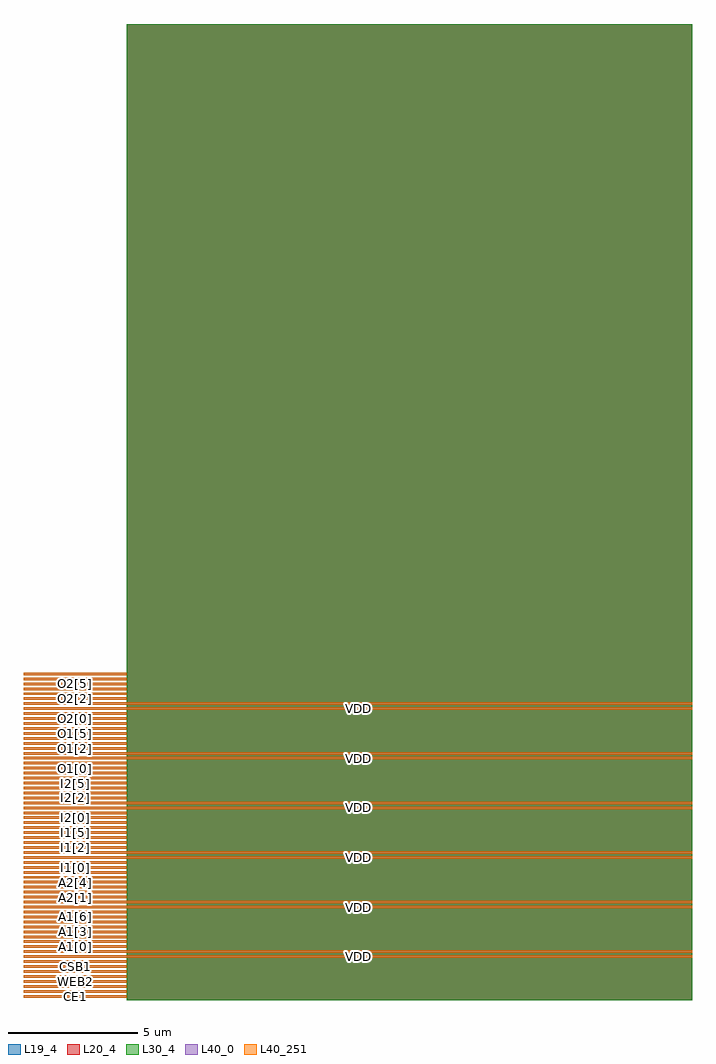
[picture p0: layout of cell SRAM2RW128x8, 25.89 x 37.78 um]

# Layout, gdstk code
import gdstk
lib = gdstk.Library(unit=1e-6, precision=1e-09)
def R(c, l, rs):  # rectangles x0, y0, x1, y1
    for r in rs: c.add(gdstk.rectangle(r[:2], r[2:], *l))
def A(c, l, x, y, w, h, nx, ny, dx, dy):  # array of equal rectangles
    R(c, l, [(x+i*dx, y+j*dy, x+i*dx+w, y+j*dy+h) for i in range(nx) for j in range(ny)])
L19_4 = (19, 4)
L20_4 = (20, 4)
L30_4 = (30, 4)
L40_0 = (40, 0)
L40_251 = (40, 251)

sram2rw128x8 = lib.new_cell('SRAM2RW128x8')
R(sram2rw128x8, L19_4, [(4,0,25.888,37.784)])
R(sram2rw128x8, L20_4, [(4,0,25.888,37.784)])
R(sram2rw128x8, L30_4, [(4,0,25.888,37.784)])
A(sram2rw128x8, L40_0, 0, 0.096, 4, 0.096, 1, 8, 0, 0.192)
A(sram2rw128x8, L40_0, 0, 2.016, 4, 0.096, 1, 8, 0, 0.192)
A(sram2rw128x8, L40_0, 0, 3.936, 4, 0.096, 1, 8, 0, 0.192)
A(sram2rw128x8, L40_0, 0, 5.856, 4, 0.096, 1, 8, 0, 0.192)
A(sram2rw128x8, L40_0, 0, 7.776, 4, 0.096, 1, 8, 0, 0.192)
A(sram2rw128x8, L40_0, 0, 9.696, 4, 0.096, 1, 8, 0, 0.192)
A(sram2rw128x8, L40_0, 0, 11.616, 4, 0.096, 1, 6, 0, 0.192)
R(sram2rw128x8, L40_0, [(0,1.632,25.888,1.728), (0,1.824,25.888,1.92), (0,3.552,25.888,3.648), (0,3.744,25.888,3.84), (0,5.472,25.888,5.568), (0,5.664,25.888,5.76), (0,7.392,25.888,7.488), (0,7.584,25.888,7.68), (0,9.312,25.888,9.408), (0,9.504,25.888,9.6), (0,11.232,25.888,11.328), (0,11.424,25.888,11.52)])
A(sram2rw128x8, L40_251, 0, 0.096, 4, 0.096, 1, 8, 0, 0.192)
A(sram2rw128x8, L40_251, 0, 2.016, 4, 0.096, 1, 8, 0, 0.192)
A(sram2rw128x8, L40_251, 0, 3.936, 4, 0.096, 1, 8, 0, 0.192)
A(sram2rw128x8, L40_251, 0, 5.856, 4, 0.096, 1, 8, 0, 0.192)
A(sram2rw128x8, L40_251, 0, 7.776, 4, 0.096, 1, 8, 0, 0.192)
A(sram2rw128x8, L40_251, 0, 9.696, 4, 0.096, 1, 8, 0, 0.192)
A(sram2rw128x8, L40_251, 0, 11.616, 4, 0.096, 1, 6, 0, 0.192)
R(sram2rw128x8, L40_251, [(0,1.632,25.888,1.728), (0,1.824,25.888,1.92), (0,3.552,25.888,3.648), (0,3.744,25.888,3.84), (0,5.472,25.888,5.568), (0,5.664,25.888,5.76), (0,7.392,25.888,7.488), (0,7.584,25.888,7.68), (0,9.312,25.888,9.408), (0,9.504,25.888,9.6), (0,11.232,25.888,11.328), (0,11.424,25.888,11.52)])
sram2rw128x8.add(gdstk.Label('CE1', (2,0.144), layer=40, texttype=0))
sram2rw128x8.add(gdstk.Label('CE2', (2,0.336), layer=40, texttype=0))
sram2rw128x8.add(gdstk.Label('WEB1', (2,0.528), layer=40, texttype=0))
sram2rw128x8.add(gdstk.Label('WEB2', (2,0.72), layer=40, texttype=0))
sram2rw128x8.add(gdstk.Label('OEB1', (2,0.912), layer=40, texttype=0))
sram2rw128x8.add(gdstk.Label('OEB2', (2,1.104), layer=40, texttype=0))
sram2rw128x8.add(gdstk.Label('CSB1', (2,1.296), layer=40, texttype=0))
sram2rw128x8.add(gdstk.Label('CSB2', (2,1.488), layer=40, texttype=0))
sram2rw128x8.add(gdstk.Label('A1[0]', (2,2.064), layer=40, texttype=0))
sram2rw128x8.add(gdstk.Label('A1[1]', (2,2.256), layer=40, texttype=0))
sram2rw128x8.add(gdstk.Label('A1[2]', (2,2.448), layer=40, texttype=0))
sram2rw128x8.add(gdstk.Label('A1[3]', (2,2.64), layer=40, texttype=0))
sram2rw128x8.add(gdstk.Label('A1[4]', (2,2.832), layer=40, texttype=0))
sram2rw128x8.add(gdstk.Label('A1[5]', (2,3.024), layer=40, texttype=0))
sram2rw128x8.add(gdstk.Label('A1[6]', (2,3.216), layer=40, texttype=0))
sram2rw128x8.add(gdstk.Label('A2[0]', (2,3.408), layer=40, texttype=0))
sram2rw128x8.add(gdstk.Label('A2[1]', (2,3.984), layer=40, texttype=0))
sram2rw128x8.add(gdstk.Label('A2[2]', (2,4.176), layer=40, texttype=0))
sram2rw128x8.add(gdstk.Label('A2[3]', (2,4.368), layer=40, texttype=0))
sram2rw128x8.add(gdstk.Label('A2[4]', (2,4.56), layer=40, texttype=0))
sram2rw128x8.add(gdstk.Label('A2[5]', (2,4.752), layer=40, texttype=0))
sram2rw128x8.add(gdstk.Label('A2[6]', (2,4.944), layer=40, texttype=0))
sram2rw128x8.add(gdstk.Label('I1[0]', (2,5.136), layer=40, texttype=0))
sram2rw128x8.add(gdstk.Label('I1[1]', (2,5.328), layer=40, texttype=0))
sram2rw128x8.add(gdstk.Label('I1[2]', (2,5.904), layer=40, texttype=0))
sram2rw128x8.add(gdstk.Label('I1[3]', (2,6.096), layer=40, texttype=0))
sram2rw128x8.add(gdstk.Label('I1[4]', (2,6.288), layer=40, texttype=0))
sram2rw128x8.add(gdstk.Label('I1[5]', (2,6.48), layer=40, texttype=0))
sram2rw128x8.add(gdstk.Label('I1[6]', (2,6.672), layer=40, texttype=0))
sram2rw128x8.add(gdstk.Label('I1[7]', (2,6.864), layer=40, texttype=0))
sram2rw128x8.add(gdstk.Label('I2[0]', (2,7.056), layer=40, texttype=0))
sram2rw128x8.add(gdstk.Label('I2[1]', (2,7.248), layer=40, texttype=0))
sram2rw128x8.add(gdstk.Label('I2[2]', (2,7.824), layer=40, texttype=0))
sram2rw128x8.add(gdstk.Label('I2[3]', (2,8.016), layer=40, texttype=0))
sram2rw128x8.add(gdstk.Label('I2[4]', (2,8.208), layer=40, texttype=0))
sram2rw128x8.add(gdstk.Label('I2[5]', (2,8.4), layer=40, texttype=0))
sram2rw128x8.add(gdstk.Label('I2[6]', (2,8.592), layer=40, texttype=0))
sram2rw128x8.add(gdstk.Label('I2[7]', (2,8.784), layer=40, texttype=0))
sram2rw128x8.add(gdstk.Label('O1[0]', (2,8.976), layer=40, texttype=0))
sram2rw128x8.add(gdstk.Label('O1[1]', (2,9.168), layer=40, texttype=0))
sram2rw128x8.add(gdstk.Label('O1[2]', (2,9.744), layer=40, texttype=0))
sram2rw128x8.add(gdstk.Label('O1[3]', (2,9.936), layer=40, texttype=0))
sram2rw128x8.add(gdstk.Label('O1[4]', (2,10.128), layer=40, texttype=0))
sram2rw128x8.add(gdstk.Label('O1[5]', (2,10.32), layer=40, texttype=0))
sram2rw128x8.add(gdstk.Label('O1[6]', (2,10.512), layer=40, texttype=0))
sram2rw128x8.add(gdstk.Label('O1[7]', (2,10.704), layer=40, texttype=0))
sram2rw128x8.add(gdstk.Label('O2[0]', (2,10.896), layer=40, texttype=0))
sram2rw128x8.add(gdstk.Label('O2[1]', (2,11.088), layer=40, texttype=0))
sram2rw128x8.add(gdstk.Label('O2[2]', (2,11.664), layer=40, texttype=0))
sram2rw128x8.add(gdstk.Label('O2[3]', (2,11.856), layer=40, texttype=0))
sram2rw128x8.add(gdstk.Label('O2[4]', (2,12.048), layer=40, texttype=0))
sram2rw128x8.add(gdstk.Label('O2[5]', (2,12.24), layer=40, texttype=0))
sram2rw128x8.add(gdstk.Label('O2[6]', (2,12.432), layer=40, texttype=0))
sram2rw128x8.add(gdstk.Label('O2[7]', (2,12.624), layer=40, texttype=0))
sram2rw128x8.add(gdstk.Label('VDD', (12.944,1.68), layer=40, texttype=0))
sram2rw128x8.add(gdstk.Label('VDD', (12.944,3.6), layer=40, texttype=0))
sram2rw128x8.add(gdstk.Label('VDD', (12.944,5.52), layer=40, texttype=0))
sram2rw128x8.add(gdstk.Label('VDD', (12.944,7.44), layer=40, texttype=0))
sram2rw128x8.add(gdstk.Label('VDD', (12.944,9.36), layer=40, texttype=0))
sram2rw128x8.add(gdstk.Label('VDD', (12.944,11.28), layer=40, texttype=0))
sram2rw128x8.add(gdstk.Label('VSS', (12.944,1.872), layer=40, texttype=0))
sram2rw128x8.add(gdstk.Label('VSS', (12.944,3.792), layer=40, texttype=0))
sram2rw128x8.add(gdstk.Label('VSS', (12.944,5.712), layer=40, texttype=0))
sram2rw128x8.add(gdstk.Label('VSS', (12.944,7.632), layer=40, texttype=0))
sram2rw128x8.add(gdstk.Label('VSS', (12.944,9.552), layer=40, texttype=0))
sram2rw128x8.add(gdstk.Label('VSS', (12.944,11.472), layer=40, texttype=0))

lib.write_gds('SRAM2RW128x8.gds')
